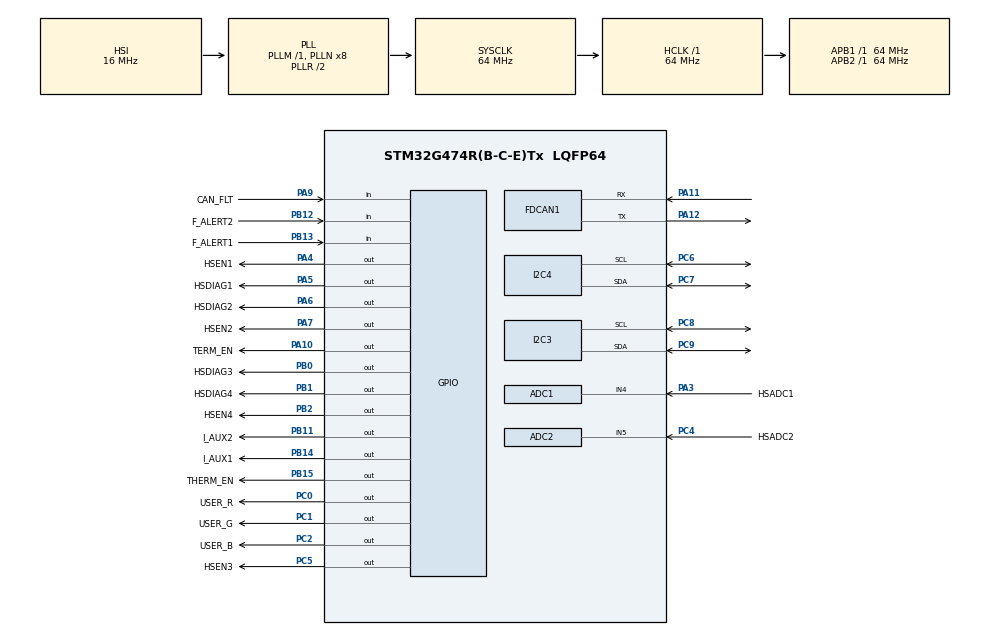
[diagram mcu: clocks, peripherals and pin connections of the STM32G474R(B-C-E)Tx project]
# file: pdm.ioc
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ADC1.Channel-0\#ChannelRegularConversion=ADC_CHANNEL_4
ADC1.NbrOfConversionFlag=1
ADC1.OffsetNumber-0\#ChannelRegularConversion=ADC_OFFSET_NONE
ADC1.Rank-0\#ChannelRegularConversion=1
ADC1.SamplingTime-0\#ChannelRegularConversion=ADC_SAMPLETIME_2CYCLES_5
ADC1.master=1
ADC2.Channel-0\#ChannelRegularConversion=ADC_CHANNEL_5
ADC2.NbrOfConversionFlag=1
ADC2.OffsetNumber-0\#ChannelRegularConversion=ADC_OFFSET_NONE
ADC2.Rank-0\#ChannelRegularConversion=1
ADC2.SamplingTime-0\#ChannelRegularConversion=ADC_SAMPLETIME_2CYCLES_5
FDCAN1.AutoRetransmission=ENABLE
FDCAN1.CalculateBaudRateNominal=125000
FDCAN1.CalculateTimeBitNominal=8000
FDCAN1.CalculateTimeQuantumNominal=500.0
FDCAN1.DataPrescaler=32
FDCAN1.DataTimeSeg1=13
FDCAN1.DataTimeSeg2=2
FDCAN1.NominalPrescaler=32
FDCAN1.NominalTimeSeg1=13
FDCAN1.NominalTimeSeg2=2
FDCAN1.TransmitPause=ENABLE
I2C3.Timing=0x10B17DB5
I2C4.Timeout=0x0000830D
I2C4.Timing=0x10B17DB5
Mcu.Family=STM32G4
Mcu.Name=STM32G474R(B-C-E)Tx
Mcu.Package=LQFP64
NVIC.FDCAN1_IT0_IRQn=true\:0\:0\:false\:false\:true\:false\:true\:true\:true
NVIC.FDCAN1_IT1_IRQn=true\:0\:0\:false\:false\:true\:false\:true\:true\:true
NVIC.I2C4_ER_IRQn=true\:0\:0\:false\:false\:true\:false\:true\:true\:true
NVIC.I2C4_EV_IRQn=true\:0\:0\:false\:false\:true\:false\:true\:true\:true
NVIC.PriorityGroup=NVIC_PRIORITYGROUP_4
NVIC.TIM7_DAC_IRQn=true\:15\:0\:false\:false\:true\:false\:false\:true\:true
NVIC.TimeBase=TIM7_DAC_IRQn
NVIC.TimeBaseIP=TIM7
PA10.GPIO_Label=TERM_EN
PA10.Signal=GPIO_Output
PA11.Mode=FDCAN_Activate
PA11.Signal=FDCAN1_RX
PA12.Mode=FDCAN_Activate
PA12.Signal=FDCAN1_TX
PA13.Mode=Serial_Wire
PA13.Signal=SYS_JTMS-SWDIO
PA14.Mode=Serial_Wire
PA14.Signal=SYS_JTCK-SWCLK
PA3.GPIO_Label=HSADC1
PA3.Mode=IN4-Single-Ended
PA3.Signal=ADC1_IN4
PA4.GPIO_Label=HSEN1
PA4.Signal=GPIO_Output
PA5.GPIO_Label=HSDIAG1
PA5.Signal=GPIO_Output
PA6.GPIO_Label=HSDIAG2
PA6.Signal=GPIO_Output
PA7.GPIO_Label=HSEN2
PA7.Signal=GPIO_Output
PA9.GPIO_Label=CAN_FLT
PA9.Signal=GPIO_Input
PB0.GPIO_Label=HSDIAG3
PB0.Signal=GPIO_Output
PB1.GPIO_Label=HSDIAG4
PB1.Signal=GPIO_Output
PB11.GPIO_Label=I_AUX2
PB11.Signal=GPIO_Output
PB12.GPIO_Label=F_ALERT2
PB12.Signal=GPIO_Input
PB13.GPIO_Label=F_ALERT1
PB13.Signal=GPIO_Input
PB14.GPIO_Label=I_AUX1
PB14.Signal=GPIO_Output
PB15.GPIO_Label=THERM_EN
PB15.Signal=GPIO_Output
PB2.GPIO_Label=HSEN4
PB2.Signal=GPIO_Output
PC0.GPIO_Label=USER_R
PC0.Signal=GPIO_Output
PC1.GPIO_Label=USER_G
PC1.Signal=GPIO_Output
PC14-OSC32_IN.Mode=LSE-External-Oscillator
PC14-OSC32_IN.Signal=RCC_OSC32_IN
PC15-OSC32_OUT.Mode=LSE-External-Oscillator
PC15-OSC32_OUT.Signal=RCC_OSC32_OUT
PC2.GPIO_Label=USER_B
PC2.Signal=GPIO_Output
PC4.GPIO_Label=HSADC2
PC4.Mode=IN5-Single-Ended
PC4.Signal=ADC2_IN5
PC5.GPIO_Label=HSEN3
PC5.Signal=GPIO_Output
PC6.Mode=SMBus-two-wire-Interface
PC6.Signal=I2C4_SCL
PC7.Mode=SMBus-two-wire-Interface
PC7.Signal=I2C4_SDA
PC8.Mode=I2C
PC8.Signal=I2C3_SCL
PC9.Mode=I2C
PC9.Signal=I2C3_SDA
PF0-OSC_IN.Mode=HSE-External-Oscillator
PF0-OSC_IN.Signal=RCC_OSC_IN
PF1-OSC_OUT.Mode=HSE-External-Oscillator
PF1-OSC_OUT.Signal=RCC_OSC_OUT
ProjectManager.HeapSize=0x200
ProjectManager.StackSize=0x400
ProjectManager.TargetToolchain=CMake
RCC.ADC12Freq_Value=64000000
RCC.ADC345Freq_Value=64000000
RCC.AHBFreq_Value=64000000
RCC.APB1Freq_Value=64000000
RCC.APB1TimFreq_Value=64000000
RCC.APB2Freq_Value=64000000
RCC.APB2TimFreq_Value=64000000
RCC.CortexFreq_Value=64000000
RCC.EXTERNAL_CLOCK_VALUE=12288000
RCC.HCLKFreq_Value=64000000
RCC.HSE_VALUE=24000000
RCC.HSI48_VALUE=48000000
RCC.HSI_VALUE=16000000
RCC.SYSCLKFreq_VALUE=64000000
RCC.SYSCLKSource=RCC_SYSCLKSOURCE_PLLCLK
RCC.USBFreq_Value=64000000
RCC.VCOOutputFreq_Value=128000000
STMicroelectronics.X-CUBE-AZRTOS-G4.2.0.0.TX_APP_CREATION=0
STMicroelectronics.X-CUBE-AZRTOS-G4.2.0.0.TX_APP_GENERATE_INIT_CODE=true
STMicroelectronics.X-CUBE-AZRTOS-G4.2.0.0.TX_APP_MEM_POOL_SIZE=65536
STMicroelectronics.X-CUBE-AZRTOS-G4.2.0.0.ThreadXCcRTOSJjThreadXJjCore=true
STMicroelectronics.X-CUBE-AZRTOS-G4.2.0.0_IsAnAzureRtosMw=true
STMicroelectronics.X-CUBE-SMBUS.2.1.0.BSP.number=1
STMicroelectronics.X-CUBE-SMBUS.2.1.0.SMBusIiPMBusIiStackCcSMbusJjSMBus=true
STMicroelectronics.X-CUBE-SMBUS.2.1.00.BSP.STBoard=false
STMicroelectronics.X-CUBE-SMBUS.2.1.00.BSP.api=Unknown
STMicroelectronics.X-CUBE-SMBUS.2.1.00.BSP.instance=I2C4
STMicroelectronics.X-CUBE-SMBUS.2.1.00.BSP.ip=I2C.*
STMicroelectronics.X-CUBE-SMBUS.2.1.00.BSP.mode=SMBus.*
STMicroelectronics.X-CUBE-SMBUS.2.1.00.BSP.name=SMBus
STMicroelectronics.X-CUBE-SMBUS.2.1.00.BSP.solution=I2C4
VP_STMicroelectronics.X-CUBE-AZRTOS-G4_VS_RTOSJjThreadX_6.2.0_2.0.0.Mode=RTOSJjThreadX
VP_STMicroelectronics.X-CUBE-SMBUS_VS_SMbusJjSMBusIiPMBusIiStack_2.0.3_2.1.0.Mode=SMbusJjSMBusIiPMBusIiStack
VP_SYS_VS_DBSignals.Mode=DisableDeadBatterySignals
VP_SYS_VS_tim7.Mode=TIM7
board=custom

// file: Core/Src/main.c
/* USER CODE BEGIN Header */
/**
  ******************************************************************************
  * @file           : main.c
  * @brief          : Main program body
  ******************************************************************************
  * @attention
  *
  * Copyright (c) 2025 STMicroelectronics.
  * All rights reserved.
  *
  * This software is licensed under terms that can be found in the LICENSE file
  * in the root directory of this software component.
  * If no LICENSE file comes with this software, it is provided AS-IS.
  *
  ******************************************************************************
  */
/* USER CODE END Header */
#include "app_threadx.h"
#include "main.h"

/* USER CODE BEGIN Includes */
#include <stdbool.h>
/* USER CODE END Includes */

ADC_HandleTypeDef hadc1;
ADC_HandleTypeDef hadc2;

FDCAN_HandleTypeDef hfdcan1;

I2C_HandleTypeDef hi2c3;
SMBUS_HandleTypeDef hsmbus4;

/* USER CODE BEGIN PV */
// Need to add each pin as they're created won't update automatically
GPIO_Pin_t hsen_pins[7] = {
    {HSEN1_GPIO_Port, HSEN1_Pin},
    {HSEN2_GPIO_Port, HSEN2_Pin},
    {HSEN3_GPIO_Port, HSEN3_Pin},
    {HSEN4_GPIO_Port, HSEN4_Pin},
    {USER_R_GPIO_Port, USER_R_Pin},
    {USER_G_GPIO_Port, USER_G_Pin},
    {USER_B_GPIO_Port, USER_B_Pin},
};
/* USER CODE END PV */

void SystemClock_Config(void);
static void MX_GPIO_Init(void);
static void MX_ADC1_Init(void);
static void MX_ADC2_Init(void);
static void MX_FDCAN1_Init(void);
static void MX_I2C3_Init(void);
static void MX_I2C4_SMBUS_Init(void);

/* USER CODE BEGIN 0 */
void write_to_pin(int hsen_num, bool state)
{
    int index = hsen_num - 1;
    if (index < sizeof(hsen_pins) / sizeof(hsen_pins[0]) && index >= 0) {
        HAL_GPIO_WritePin(hsen_pins[index].port, hsen_pins[index].pin, state ? GPIO_PIN_SET : GPIO_PIN_RESET);
    }
}
/* USER CODE END 0 */

int main(void)
{

  /* MCU Configuration--------------------------------------------------------*/

  /* Reset of all peripherals, Initializes the Flash interface and the Systick. */
  HAL_Init();

  /* Configure the system clock */
  SystemClock_Config();

  /* Initialize all configured peripherals */
  MX_GPIO_Init();
  MX_ADC1_Init();
  MX_ADC2_Init();
  MX_FDCAN1_Init();
  MX_I2C3_Init();
  MX_I2C4_SMBUS_Init();
  /* USER CODE BEGIN 2 */
    pdm_init();
  /* USER CODE END 2 */

  MX_ThreadX_Init();

  /* We should never get here as control is now taken by the scheduler */

  /* Infinite loop */
  while (1)
  {

  }
}

void SystemClock_Config(void)
{
  RCC_OscInitTypeDef RCC_OscInitStruct = {0};
  RCC_ClkInitTypeDef RCC_ClkInitStruct = {0};

  /** Configure the main internal regulator output voltage
  */
  HAL_PWREx_ControlVoltageScaling(PWR_REGULATOR_VOLTAGE_SCALE1);

  /** Initializes the RCC Oscillators according to the specified parameters
  * in the RCC_OscInitTypeDef structure.
  */
  RCC_OscInitStruct.OscillatorType = RCC_OSCILLATORTYPE_HSI;
  RCC_OscInitStruct.HSIState = RCC_HSI_ON;
  RCC_OscInitStruct.HSICalibrationValue = RCC_HSICALIBRATION_DEFAULT;
  RCC_OscInitStruct.PLL.PLLState = RCC_PLL_ON;
  RCC_OscInitStruct.PLL.PLLSource = RCC_PLLSOURCE_HSI;
  RCC_OscInitStruct.PLL.PLLM = RCC_PLLM_DIV1;
  RCC_OscInitStruct.PLL.PLLN = 8;
  RCC_OscInitStruct.PLL.PLLP = RCC_PLLP_DIV2;
  RCC_OscInitStruct.PLL.PLLQ = RCC_PLLQ_DIV2;
  RCC_OscInitStruct.PLL.PLLR = RCC_PLLR_DIV2;
  if (HAL_RCC_OscConfig(&RCC_OscInitStruct) != HAL_OK)
  {
    Error_Handler();
  }

  /** Initializes the CPU, AHB and APB buses clocks
  */
  RCC_ClkInitStruct.ClockType = RCC_CLOCKTYPE_HCLK|RCC_CLOCKTYPE_SYSCLK
                              |RCC_CLOCKTYPE_PCLK1|RCC_CLOCKTYPE_PCLK2;
  RCC_ClkInitStruct.SYSCLKSource = RCC_SYSCLKSOURCE_PLLCLK;
  RCC_ClkInitStruct.AHBCLKDivider = RCC_SYSCLK_DIV1;
  RCC_ClkInitStruct.APB1CLKDivider = RCC_HCLK_DIV1;
  RCC_ClkInitStruct.APB2CLKDivider = RCC_HCLK_DIV1;

  if (HAL_RCC_ClockConfig(&RCC_ClkInitStruct, FLASH_LATENCY_2) != HAL_OK)
  {
    Error_Handler();
  }
}

static void MX_ADC1_Init(void)
{

  ADC_MultiModeTypeDef multimode = {0};
  ADC_ChannelConfTypeDef sConfig = {0};

  /** Common config
  */
  hadc1.Instance = ADC1;
  hadc1.Init.ClockPrescaler = ADC_CLOCK_SYNC_PCLK_DIV2;
  hadc1.Init.Resolution = ADC_RESOLUTION_12B;
  hadc1.Init.DataAlign = ADC_DATAALIGN_RIGHT;
  hadc1.Init.GainCompensation = 0;
  hadc1.Init.ScanConvMode = ADC_SCAN_DISABLE;
  hadc1.Init.EOCSelection = ADC_EOC_SINGLE_CONV;
  hadc1.Init.LowPowerAutoWait = DISABLE;
  hadc1.Init.ContinuousConvMode = DISABLE;
  hadc1.Init.NbrOfConversion = 1;
  hadc1.Init.DiscontinuousConvMode = DISABLE;
  hadc1.Init.ExternalTrigConv = ADC_SOFTWARE_START;
  hadc1.Init.ExternalTrigConvEdge = ADC_EXTERNALTRIGCONVEDGE_NONE;
  hadc1.Init.DMAContinuousRequests = DISABLE;
  hadc1.Init.Overrun = ADC_OVR_DATA_PRESERVED;
  hadc1.Init.OversamplingMode = DISABLE;
  if (HAL_ADC_Init(&hadc1) != HAL_OK)
  {
    Error_Handler();
  }

  /** Configure the ADC multi-mode
  */
  multimode.Mode = ADC_MODE_INDEPENDENT;
  if (HAL_ADCEx_MultiModeConfigChannel(&hadc1, &multimode) != HAL_OK)
  {
    Error_Handler();
  }

  /** Configure Regular Channel
  */
  sConfig.Channel = ADC_CHANNEL_4;
  sConfig.Rank = ADC_REGULAR_RANK_1;
  sConfig.SamplingTime = ADC_SAMPLETIME_2CYCLES_5;
  sConfig.SingleDiff = ADC_SINGLE_ENDED;
  sConfig.OffsetNumber = ADC_OFFSET_NONE;
  sConfig.Offset = 0;
  if (HAL_ADC_ConfigChannel(&hadc1, &sConfig) != HAL_OK)
  {
    Error_Handler();
  }

}

static void MX_ADC2_Init(void)
{

  ADC_ChannelConfTypeDef sConfig = {0};

  /** Common config
  */
  hadc2.Instance = ADC2;
  hadc2.Init.ClockPrescaler = ADC_CLOCK_SYNC_PCLK_DIV2;
  hadc2.Init.Resolution = ADC_RESOLUTION_12B;
  hadc2.Init.DataAlign = ADC_DATAALIGN_RIGHT;
  hadc2.Init.GainCompensation = 0;
  hadc2.Init.ScanConvMode = ADC_SCAN_DISABLE;
  hadc2.Init.EOCSelection = ADC_EOC_SINGLE_CONV;
  hadc2.Init.LowPowerAutoWait = DISABLE;
  hadc2.Init.ContinuousConvMode = DISABLE;
  hadc2.Init.NbrOfConversion = 1;
  hadc2.Init.DiscontinuousConvMode = DISABLE;
  hadc2.Init.ExternalTrigConv = ADC_SOFTWARE_START;
  hadc2.Init.ExternalTrigConvEdge = ADC_EXTERNALTRIGCONVEDGE_NONE;
  hadc2.Init.DMAContinuousRequests = DISABLE;
  hadc2.Init.Overrun = ADC_OVR_DATA_PRESERVED;
  hadc2.Init.OversamplingMode = DISABLE;
  if (HAL_ADC_Init(&hadc2) != HAL_OK)
  {
    Error_Handler();
  }

  /** Configure Regular Channel
  */
  sConfig.Channel = ADC_CHANNEL_5;
  sConfig.Rank = ADC_REGULAR_RANK_1;
  sConfig.SamplingTime = ADC_SAMPLETIME_2CYCLES_5;
  sConfig.SingleDiff = ADC_SINGLE_ENDED;
  sConfig.OffsetNumber = ADC_OFFSET_NONE;
  sConfig.Offset = 0;
  if (HAL_ADC_ConfigChannel(&hadc2, &sConfig) != HAL_OK)
  {
    Error_Handler();
  }

}

static void MX_FDCAN1_Init(void)
{

  hfdcan1.Instance = FDCAN1;
  hfdcan1.Init.ClockDivider = FDCAN_CLOCK_DIV1;
  hfdcan1.Init.FrameFormat = FDCAN_FRAME_CLASSIC;
  hfdcan1.Init.Mode = FDCAN_MODE_NORMAL;
  hfdcan1.Init.AutoRetransmission = ENABLE;
  hfdcan1.Init.TransmitPause = ENABLE;
  hfdcan1.Init.ProtocolException = DISABLE;
  hfdcan1.Init.NominalPrescaler = 32;
  hfdcan1.Init.NominalSyncJumpWidth = 1;
  hfdcan1.Init.NominalTimeSeg1 = 13;
  hfdcan1.Init.NominalTimeSeg2 = 2;
  hfdcan1.Init.DataPrescaler = 32;
  hfdcan1.Init.DataSyncJumpWidth = 1;
  hfdcan1.Init.DataTimeSeg1 = 13;
  hfdcan1.Init.DataTimeSeg2 = 2;
  hfdcan1.Init.StdFiltersNbr = 0;
  hfdcan1.Init.ExtFiltersNbr = 0;
  hfdcan1.Init.TxFifoQueueMode = FDCAN_TX_FIFO_OPERATION;
  if (HAL_FDCAN_Init(&hfdcan1) != HAL_OK)
  {
    Error_Handler();
  }

}

static void MX_I2C3_Init(void)
{

  hi2c3.Instance = I2C3;
  hi2c3.Init.Timing = 0x10B17DB5;
  hi2c3.Init.OwnAddress1 = 0;
  hi2c3.Init.AddressingMode = I2C_ADDRESSINGMODE_7BIT;
  hi2c3.Init.DualAddressMode = I2C_DUALADDRESS_DISABLE;
  hi2c3.Init.OwnAddress2 = 0;
  hi2c3.Init.OwnAddress2Masks = I2C_OA2_NOMASK;
  hi2c3.Init.GeneralCallMode = I2C_GENERALCALL_DISABLE;
  hi2c3.Init.NoStretchMode = I2C_NOSTRETCH_DISABLE;
  if (HAL_I2C_Init(&hi2c3) != HAL_OK)
  {
    Error_Handler();
  }

  /** Configure Analogue filter
  */
  if (HAL_I2CEx_ConfigAnalogFilter(&hi2c3, I2C_ANALOGFILTER_ENABLE) != HAL_OK)
  {
    Error_Handler();
  }

  /** Configure Digital filter
  */
  if (HAL_I2CEx_ConfigDigitalFilter(&hi2c3, 0) != HAL_OK)
  {
    Error_Handler();
  }

}

static void MX_I2C4_SMBUS_Init(void)
{

  hsmbus4.Instance = I2C4;
  hsmbus4.Init.Timing = 0x10B17DB5;
  hsmbus4.Init.AnalogFilter = SMBUS_ANALOGFILTER_ENABLE;
  hsmbus4.Init.OwnAddress1 = 2;
  hsmbus4.Init.AddressingMode = SMBUS_ADDRESSINGMODE_7BIT;
  hsmbus4.Init.DualAddressMode = SMBUS_DUALADDRESS_DISABLE;
  hsmbus4.Init.OwnAddress2 = 0;
  hsmbus4.Init.OwnAddress2Masks = SMBUS_OA2_NOMASK;
  hsmbus4.Init.GeneralCallMode = SMBUS_GENERALCALL_DISABLE;
  hsmbus4.Init.NoStretchMode = SMBUS_NOSTRETCH_DISABLE;
  hsmbus4.Init.PacketErrorCheckMode = SMBUS_PEC_DISABLE;
  hsmbus4.Init.PeripheralMode = SMBUS_PERIPHERAL_MODE_SMBUS_SLAVE;
  hsmbus4.Init.SMBusTimeout = 0x0000830D;
  if (HAL_SMBUS_Init(&hsmbus4) != HAL_OK)
  {
    Error_Handler();
  }

}

static void MX_GPIO_Init(void)
{
  GPIO_InitTypeDef GPIO_InitStruct = {0};

  /* GPIO Ports Clock Enable */
  __HAL_RCC_GPIOC_CLK_ENABLE();
  __HAL_RCC_GPIOF_CLK_ENABLE();
  __HAL_RCC_GPIOA_CLK_ENABLE();
  __HAL_RCC_GPIOB_CLK_ENABLE();

  /*Configure GPIO pin Output Level */
  HAL_GPIO_WritePin(GPIOC, USER_R_Pin|USER_G_Pin|USER_B_Pin|HSEN3_Pin, GPIO_PIN_RESET);

  /*Configure GPIO pin Output Level */
  HAL_GPIO_WritePin(GPIOA, HSEN1_Pin|HSDIAG1_Pin|HSDIAG2_Pin|HSEN2_Pin
                          |TERM_EN_Pin, GPIO_PIN_RESET);

  /*Configure GPIO pin Output Level */
  HAL_GPIO_WritePin(GPIOB, HSDIAG3_Pin|HSDIAG4_Pin|HSEN4_Pin|I_AUX2_Pin
                          |I_AUX1_Pin|THERM_EN_Pin, GPIO_PIN_RESET);

  /*Configure GPIO pins : USER_R_Pin USER_G_Pin USER_B_Pin HSEN3_Pin */
  GPIO_InitStruct.Pin = USER_R_Pin|USER_G_Pin|USER_B_Pin|HSEN3_Pin;
  GPIO_InitStruct.Mode = GPIO_MODE_OUTPUT_PP;
  GPIO_InitStruct.Pull = GPIO_NOPULL;
  GPIO_InitStruct.Speed = GPIO_SPEED_FREQ_LOW;
  HAL_GPIO_Init(GPIOC, &GPIO_InitStruct);

  /*Configure GPIO pins : HSEN1_Pin HSDIAG1_Pin HSDIAG2_Pin HSEN2_Pin
                           TERM_EN_Pin */
  GPIO_InitStruct.Pin = HSEN1_Pin|HSDIAG1_Pin|HSDIAG2_Pin|HSEN2_Pin
                          |TERM_EN_Pin;
  GPIO_InitStruct.Mode = GPIO_MODE_OUTPUT_PP;
  GPIO_InitStruct.Pull = GPIO_NOPULL;
  GPIO_InitStruct.Speed = GPIO_SPEED_FREQ_LOW;
  HAL_GPIO_Init(GPIOA, &GPIO_InitStruct);

  /*Configure GPIO pins : HSDIAG3_Pin HSDIAG4_Pin HSEN4_Pin I_AUX2_Pin
                           I_AUX1_Pin THERM_EN_Pin */
  GPIO_InitStruct.Pin = HSDIAG3_Pin|HSDIAG4_Pin|HSEN4_Pin|I_AUX2_Pin
                          |I_AUX1_Pin|THERM_EN_Pin;
  GPIO_InitStruct.Mode = GPIO_MODE_OUTPUT_PP;
  GPIO_InitStruct.Pull = GPIO_NOPULL;
  GPIO_InitStruct.Speed = GPIO_SPEED_FREQ_LOW;
  HAL_GPIO_Init(GPIOB, &GPIO_InitStruct);

  /*Configure GPIO pins : F_ALERT2_Pin F_ALERT1_Pin */
  GPIO_InitStruct.Pin = F_ALERT2_Pin|F_ALERT1_Pin;
  GPIO_InitStruct.Mode = GPIO_MODE_INPUT;
  GPIO_InitStruct.Pull = GPIO_NOPULL;
  HAL_GPIO_Init(GPIOB, &GPIO_InitStruct);

  /*Configure GPIO pin : CAN_FLT_Pin */
  GPIO_InitStruct.Pin = CAN_FLT_Pin;
  GPIO_InitStruct.Mode = GPIO_MODE_INPUT;
  GPIO_InitStruct.Pull = GPIO_NOPULL;
  HAL_GPIO_Init(CAN_FLT_GPIO_Port, &GPIO_InitStruct);

}

void HAL_TIM_PeriodElapsedCallback(TIM_HandleTypeDef *htim)
{
  if (htim->Instance == TIM7)
  {
    HAL_IncTick();
  }
}

void Error_Handler(void)
{
  /* USER CODE BEGIN Error_Handler_Debug */
  /* User can add his own implementation to report the HAL error return state */
  __disable_irq();
  while (1)
  {
      HAL_GPIO_TogglePin(USER_R_GPIO_Port, USER_R_Pin);
      HAL_GPIO_TogglePin(USER_G_GPIO_Port, USER_G_Pin);
      HAL_GPIO_TogglePin(USER_B_GPIO_Port, USER_B_Pin);
        //TODO: print error.
      HAL_Delay(1000);
  }
  /* USER CODE END Error_Handler_Debug */
}
#ifdef USE_FULL_ASSERT
/**
  * @brief  Reports the name of the source file and the source line number
  *         where the assert_param error has occurred.
  * @param  file: pointer to the source file name
  * @param  line: assert_param error line source number
  * @retval None
  */
void assert_failed(uint8_t *file, uint32_t line)
{
  /* USER CODE BEGIN 6 */
  /* User can add his own implementation to report the file name and line number,
    printf("Wrong parameters value: file %s on line %d\r\n", file, line) */
  /* USER CODE END 6 */
}
#endif /* USE_FULL_ASSERT */
